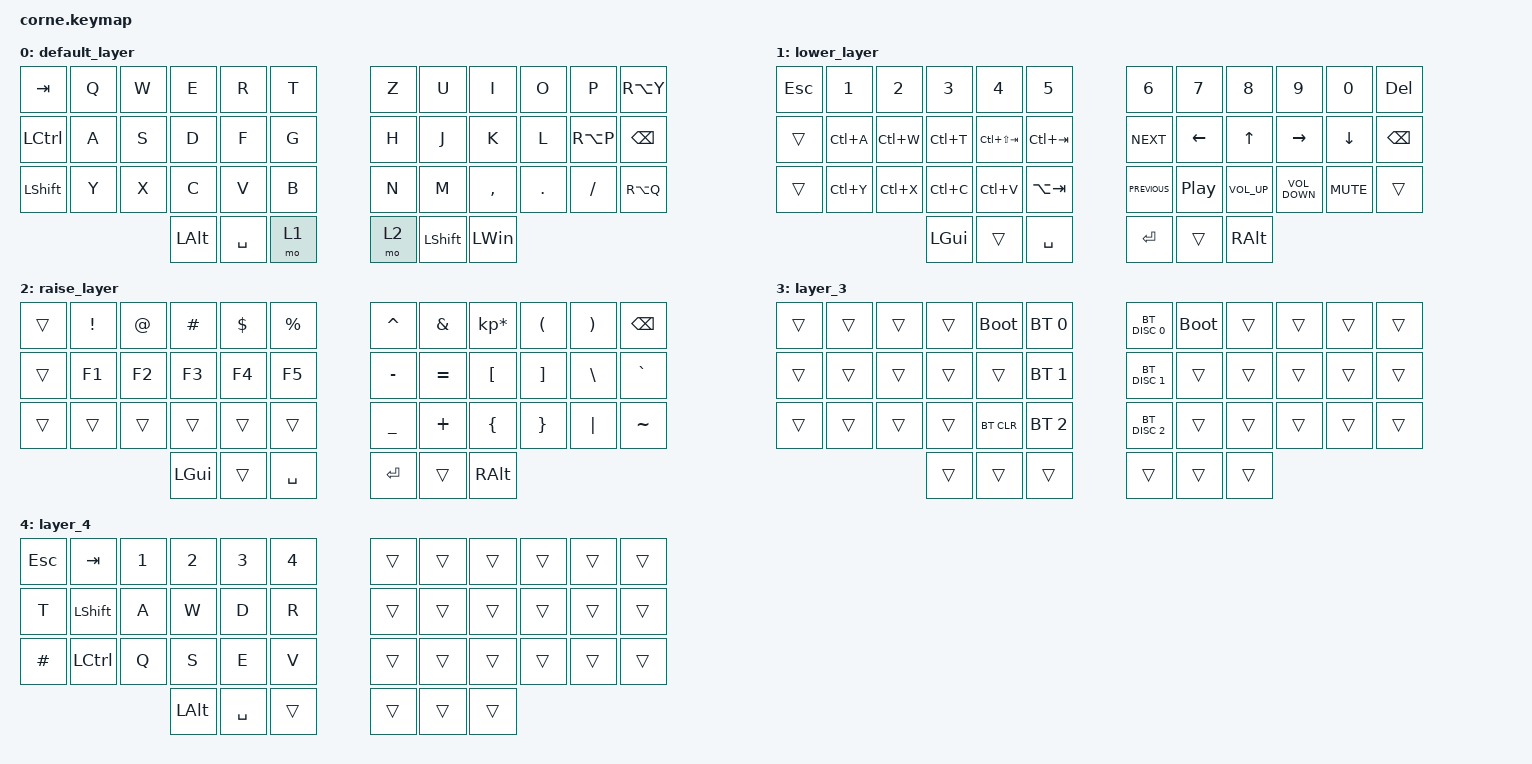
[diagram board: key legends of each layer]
/*
 * Copyright (c) 2020 The ZMK Contributors
 *
 * SPDX-License-Identifier: MIT
 */

#include <behaviors.dtsi>
#include <dt-bindings/zmk/bt.h>
#include <dt-bindings/zmk/keys.h>

/ {
    combos {
        compatible = "zmk,combos";

        gaming {
            bindings = <&to 4>;
            key-positions = <36 37 38>;
            layers = <0>;
        };

        normal {
            bindings = <&to 0>;
            key-positions = <36 37 38>;
            layers = <4>;
        };
    };

    keymap {
        compatible = "zmk,keymap";

        default_layer {
            // -----------------------------------------------------------------------------------------
            // |  TAB |  Q  |  W  |  E  |  R  |  T  |   |  Y  |  U   |  I  |  O  |  P  |  '   |
            // | CTRL |  A  |  S  |  D  |  F  |  G  |   |  H  |  J   |  K  |  L  |  ;  | BKSP |
            // | SHFT |  Z  |  X  |  C  |  V  |  B  |   |  N  |  M   |  ,  |  .  |  /  | ESC  |
            //                    | GUI | LWR | SPC |   | ENT | RSE  | ALT |

            bindings = <
&kp TAB    &kp Q  &kp W  &kp E         &kp R      &kp T    &kp Z  &kp U           &kp I         &kp O    &kp P      &kp RA(Y)
&kp LCTRL  &kp A  &kp S  &kp D         &kp F      &kp G    &kp H  &kp J           &kp K         &kp L    &kp RA(P)  &kp BACKSPACE
&kp LSHFT  &kp Y  &kp X  &kp C         &kp V      &kp B    &kp N  &kp M           &kp COMMA     &kp DOT  &kp SLASH  &kp RA(Q)
                         &kp LEFT_ALT  &kp SPACE  &mo 1    &mo 2  &kp LEFT_SHIFT  &kp LEFT_WIN
            >;
        };

        lower_layer {
            // -----------------------------------------------------------------------------------------
            // |  TAB |  1  |  2  |  3  |  4  |  5  |   |  6  |  7  |  8  |  9  |  0  | BKSP |
            // | BTCLR| BT1 | BT2 | BT3 | BT4 | BT5 |   | LFT | DWN |  UP | RGT |     |      |
            // | SHFT |     |     |     |     |     |   |     |     |     |     |     |      |
            //                    | GUI |     | SPC |   | ENT |     | ALT |

            bindings = <
&kp ESCAPE  &kp N1     &kp N2     &kp N3     &kp N4           &kp N5         &kp N6          &kp N7            &kp N8           &kp N9             &kp N0      &kp DEL
&trans      &kp LC(A)  &kp LC(W)  &kp LC(T)  &kp LC(LS(TAB))  &kp LC(TAB)    &kp C_NEXT      &kp LEFT          &kp UP           &kp RIGHT          &kp DOWN    &kp BACKSPACE
&trans      &kp LC(Y)  &kp LC(X)  &kp LC(C)  &kp LC(V)        &kp LA(TAB)    &kp C_PREVIOUS  &kp C_PLAY_PAUSE  &kp C_VOLUME_UP  &kp C_VOLUME_DOWN  &kp C_MUTE  &trans
                                  &kp LGUI   &trans           &kp SPACE      &kp RET         &trans            &kp RALT
            >;
        };

        raise_layer {
            // -----------------------------------------------------------------------------------------
            // |  TAB |  !  |  @  |  #  |  $  |  %  |   |  ^  |  &  |  *  |  (  |  )  | BKSP |
            // | CTRL |     |     |     |     |     |   |  -  |  =  |  [  |  ]  |  \  |  `   |
            // | SHFT |     |     |     |     |     |   |  _  |  +  |  {  |  }  | "|" |  ~   |
            //                    | GUI |     | SPC |   | ENT |     | ALT |

            bindings = <
&trans  &kp EXCL  &kp AT  &kp HASH  &kp DLLR  &kp PRCNT    &kp CARET  &kp AMPS   &kp KP_MULTIPLY  &kp LPAR  &kp RPAR  &kp BSPC
&trans  &kp F1    &kp F2  &kp F3    &kp F4    &kp F5       &kp MINUS  &kp EQUAL  &kp LBKT         &kp RBKT  &kp BSLH  &kp GRAVE
&trans  &trans    &trans  &trans    &trans    &trans       &kp UNDER  &kp PLUS   &kp LBRC         &kp RBRC  &kp PIPE  &kp TILDE
                          &kp LGUI  &trans    &kp SPACE    &kp RET    &trans     &kp RALT
            >;
        };

        layer_3 {
            bindings = <
&trans  &trans  &trans  &trans  &bootloader  &bt BT_SEL 0    &bt BT_DISC 0  &bootloader  &trans  &trans  &trans  &trans
&trans  &trans  &trans  &trans  &trans       &bt BT_SEL 1    &bt BT_DISC 1  &trans       &trans  &trans  &trans  &trans
&trans  &trans  &trans  &trans  &bt BT_CLR   &bt BT_SEL 2    &bt BT_DISC 2  &trans       &trans  &trans  &trans  &trans
                        &trans  &trans       &trans          &trans         &trans       &trans
            >;
        };

        layer_4 {
            bindings = <
&kp ESC    &kp TAB         &kp N1  &kp N2    &kp N3     &kp N4    &trans  &trans  &trans  &trans  &trans  &trans
&kp T      &kp LEFT_SHIFT  &kp A   &kp W     &kp D      &kp R     &trans  &trans  &trans  &trans  &trans  &trans
&kp POUND  &kp LCTRL       &kp Q   &kp S     &kp E      &kp V     &trans  &trans  &trans  &trans  &trans  &trans
                                   &kp LALT  &kp SPACE  &trans    &trans  &trans  &trans
            >;
        };
    };

    conditional_layers {
        compatible = "zmk,conditional-layers";

        bt_layer {
            if-layers = <1 2>;
            then-layer = <3>;
        };
    };
};
